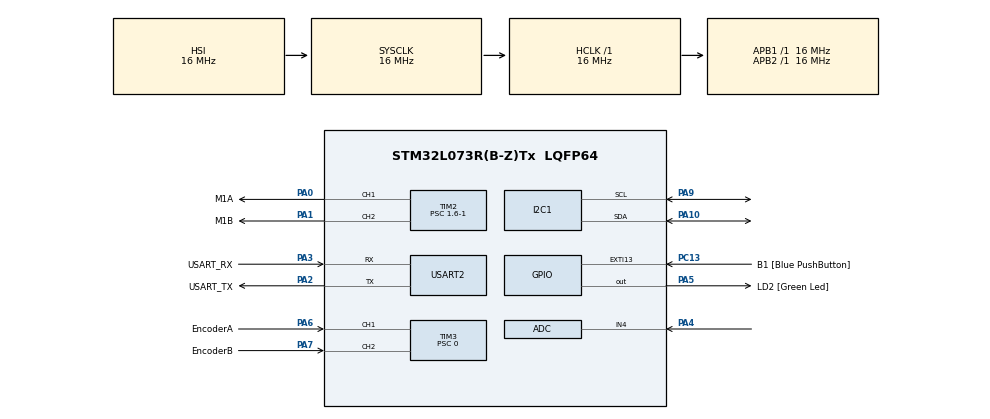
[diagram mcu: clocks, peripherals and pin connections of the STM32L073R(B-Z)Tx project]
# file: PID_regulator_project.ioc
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ADC.ClockPrescaler=ADC_CLOCK_ASYNC_DIV1
ADC.ContinuousConvMode=ENABLE
ADC.DMAContinuousRequests=ENABLE
ADC.EnableAnalogWatchDog=false
ADC.OversamplingMode=ENABLE
ADC.Ratio=ADC_OVERSAMPLING_RATIO_256
ADC.RightBitShift=ADC_RIGHTBITSHIFT_8
ADC.SamplingTime=ADC_SAMPLETIME_160CYCLES_5
Dma.ADC.0.Direction=DMA_PERIPH_TO_MEMORY
Dma.ADC.0.Instance=DMA1_Channel1
Dma.ADC.0.MemDataAlignment=DMA_MDATAALIGN_HALFWORD
Dma.ADC.0.MemInc=DMA_MINC_ENABLE
Dma.ADC.0.Mode=DMA_CIRCULAR
Dma.ADC.0.PeriphDataAlignment=DMA_PDATAALIGN_HALFWORD
Dma.ADC.0.PeriphInc=DMA_PINC_DISABLE
Dma.ADC.0.Priority=DMA_PRIORITY_LOW
Dma.Request0=ADC
I2C1.Timing=0x00503D58
Mcu.Family=STM32L0
Mcu.Name=STM32L073R(B-Z)Tx
Mcu.Package=LQFP64
NVIC.EXTI4_15_IRQn=true\:0\:0\:false\:false\:true\:true\:true\:true
NVIC.TIM21_IRQn=true\:1\:0\:true\:false\:true\:true\:true\:true
PA0.GPIO_Label=M1A
PA0.Signal=S_TIM2_CH1
PA1.GPIO_Label=M1B
PA1.Signal=S_TIM2_CH2
PA10.Mode=I2C
PA10.Signal=I2C1_SDA
PA13.GPIO_Label=TMS
PA13.Mode=Serial_Wire
PA13.Signal=SYS_SWDIO
PA14.GPIO_Label=TCK
PA14.Mode=Serial_Wire
PA14.Signal=SYS_SWCLK
PA2.GPIO_Label=USART_TX
PA2.Mode=Asynchronous
PA2.Signal=USART2_TX
PA3.GPIO_Label=USART_RX
PA3.Mode=Asynchronous
PA3.Signal=USART2_RX
PA4.Mode=IN4
PA4.Signal=ADC_IN4
PA5.GPIO_Label=LD2 [Green Led]
PA5.Signal=GPIO_Output
PA6.GPIO_Label=EncoderA
PA6.Signal=S_TIM3_CH1
PA7.GPIO_Label=EncoderB
PA7.Signal=S_TIM3_CH2
PA9.Mode=I2C
PA9.Signal=I2C1_SCL
PC13.GPIO_Label=B1 [Blue PushButton]
PC13.GPIO_ModeDefaultEXTI=GPIO_MODE_IT_FALLING
PC13.Signal=GPXTI13
PC14-OSC32_IN.Signal=RCC_OSC32_IN
PC15-OSC32_OUT.Signal=RCC_OSC32_OUT
PH0-OSC_IN.GPIO_Label=MCO
PH0-OSC_IN.Signal=RCC_OSC_IN
ProjectManager.HeapSize=0x200
ProjectManager.StackSize=0x400
ProjectManager.TargetToolchain=STM32CubeIDE
RCC.ADCFreq_Value=16000000
RCC.AHBFreq_Value=16000000
RCC.APB1Freq_Value=16000000
RCC.APB1TimFreq_Value=16000000
RCC.APB2Freq_Value=16000000
RCC.APB2TimFreq_Value=16000000
RCC.HCLKFreq_Value=16000000
RCC.HSE_VALUE=8000000
RCC.HSI16_VALUE=16000000
RCC.HSI48_VALUE=48000000
RCC.HSI_VALUE=16000000
RCC.LSEState=RCC_LSE_ON
RCC.LSE_VALUE=32768
RCC.MSIClockRange=RCC_MSIRANGE_6
RCC.MSI_VALUE=4194000
RCC.SYSCLKFreq_VALUE=16000000
RCC.SYSCLKSource=RCC_SYSCLKSOURCE_HSI
RCC.VCOOutputFreq_Value=48000000
SH.S_TIM2_CH1.0=TIM2_CH1,PWM Generation1 CH1
SH.S_TIM2_CH2.0=TIM2_CH2,PWM Generation2 CH2
SH.S_TIM3_CH1.0=TIM3_CH1,Encoder_Interface
SH.S_TIM3_CH2.0=TIM3_CH2,Encoder_Interface
TIM2.Channel-PWM\ Generation1\ CH1=TIM_CHANNEL_1
TIM2.Channel-PWM\ Generation2\ CH2=TIM_CHANNEL_2
TIM2.Period=1000-1
TIM2.Prescaler=1.6-1
TIM21.Period=1000-1
TIM21.Prescaler=1600-1
TIM3.EncoderMode=TIM_ENCODERMODE_TI12
TIM3.IC1Filter=15
TIM3.IC2Filter=15
TIM3.Prescaler=0
USART2.VirtualMode-Asynchronous=VM_ASYNC
VP_TIM21_VS_ClockSourceINT.Mode=Internal
VP_TIM2_VS_ClockSourceINT.Mode=Internal
board=NUCLEO-L073RZ

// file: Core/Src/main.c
/* USER CODE BEGIN Header */
/**
 * @file main.c
 * @brief Plik nagłówkowy do sterowania silnikiem DC z wykorzystaniem algorytmu PID.
 *
 * Plik główny projektu regulacego prędkości obrotowej silnika DC, dostosowaną do zmieniającego
 * się obciążenia. Algorytm PID zapewnia precyzyjną kontrolę prędkości
 * i stabilność pracy silnika w różnych warunkach.
 *
 * Program obsługuje sterowanie silnikiem oraz przetwarzanie danych z ADC przy użyciu DMA.
 * Timer generuje przerwanie co 100 ms, w którym realizowane są operacje sterujące silnikiem oraz
 * ustawiane flagi do dalszej komunikacji (UART oraz LCD).
 * Pętla główna odpowiedzialna jest za kontrolowanie tych flag i warunkowe obsłużenie UART oraz LCD.
 * Nadrzędna flaga pochodząca od przycisku warunkuje wykonywanie całego programu (nie blokuje kontrolera)
 *
 * Kluczowe funkcje:
 * 1. **Timer Interrupt (100 ms)** -  uaktualnienie odczytu z DMA, sterowanie silnikiem oraz
 * 		wystawianie flagi do komunikacji.
 * 2. **ADC w trybie DMA** - pobieranie danych z czujników w sposób bezpośredni, bez angażowania procesora,
 * 		co pozwala na asynchroniczne zbieranie próbek.
 * 3. **Pętla główna** - analizowanie flagi z przerwania, obsługa komunikacji.
 * 4. **EXTI Interrupt** - przerwanie działania programu, wyłączenie silnika
 *
 *  Created on: Dec 1, 2024
 *      Author: Igor
 */
/* USER CODE END Header */
#include "main.h"

/* USER CODE BEGIN Includes */
#include "cytronDriver.h"
#include "motor.h"
#include "string.h"
#include "stdio.h"
#include "./I2C_LCD_Inc/I2C_LCD.h"
/* USER CODE END Includes */

ADC_HandleTypeDef hadc;
DMA_HandleTypeDef hdma_adc;

I2C_HandleTypeDef hi2c1;

TIM_HandleTypeDef htim2;
TIM_HandleTypeDef htim3;
TIM_HandleTypeDef htim21;

UART_HandleTypeDef huart2;

void SystemClock_Config(void);
static void MX_GPIO_Init(void);
static void MX_DMA_Init(void);
static void MX_TIM2_Init(void);
static void MX_TIM3_Init(void);
static void MX_TIM21_Init(void);
static void MX_USART2_UART_Init(void);
static void MX_ADC_Init(void);
static void MX_I2C1_Init(void);

/* USER CODE BEGIN 0 */
motor_struct motor_instance; /**< Instancja silnika DC */

volatile int flag_turn_on_off = 0; /**< Flaga do włączania/wyłączania silnika */
volatile int flag_send_data = 0; /**< Flaga wskazująca na konieczność wysłania danych przez UART */
volatile int flag_refresh_LCD = 0; /**< Flaga do odświeżania wyświetlacza LCD */

char uart_buffer[100]; /**< Bufor do komunikacji UART */
int lcd_refresh_counter = 0; /**< Licznik odświeżania wyświetlacza LCD */

volatile static uint16_t adc_value[1];/**< Tablica przechowująca wartość odczytaną z ADC. */
int new_speed = 0;/**< Obliczona prędkość silnika na podstawie odczytu z ADC. */

volatile uint32_t last_EXTI_interrupt_time; /**< Zmienna do cyfrowego debouncingu przycisku */

/* USER CODE END 0 */

/**
 * @brief  Główna funkcja programu, zawiera inicjalizację peryferiów oraz obsługę wystawionych flag.
 *
 * Funkcja inicjalizuje wszystkie peryferia, w tym ADC, PWM, enkoder, UART i LCD. Następnie
 * w pętli głównej programu monitoruje flagi i warunkowo wysyła dane przez UART oraz aktualizuje stan ekranu LCD
 *
 * @retval int Zwraca 0 w przypadku poprawnego zakończenia.
 */
int main(void) {

	/* MCU Configuration--------------------------------------------------------*/

	/* Reset of all peripherals, Initializes the Flash interface and the Systick. */
	HAL_Init();

	/* Configure the system clock */
	SystemClock_Config();

	/* Initialize all configured peripherals */
	MX_GPIO_Init();
	MX_DMA_Init();
	MX_TIM2_Init();
	MX_TIM3_Init();
	MX_TIM21_Init();
	MX_USART2_UART_Init();
	MX_ADC_Init();
	MX_I2C1_Init();
	/* USER CODE BEGIN 2 */

	/* Inicjalizacja LCD */
	I2C_LCD_Init(I2C_LCD_1);
	I2C_LCD_SetCursor(I2C_LCD_1, 0, 0);
	I2C_LCD_WriteString(I2C_LCD_1, "SYSTEM");
	I2C_LCD_SetCursor(I2C_LCD_1, 0, 1);
	I2C_LCD_WriteString(I2C_LCD_1, "INITIALISATION");
	HAL_Delay(1000);

	/* Inicjalizacja silnika i PID */
	Cytron_Motor_Init(&(motor_instance.driver), &htim2);
	motor_init(&motor_instance, &htim3);
	pid_init(&(motor_instance.pid_controller));

	/* Uruchomienie PWM, enkodera oraz licznika generującego przerwanie */
	HAL_TIM_PWM_Start(&htim2, TIM_CHANNEL_1); /*timer do generacji PWM*/
	HAL_TIM_PWM_Start(&htim2, TIM_CHANNEL_2);
	HAL_TIM_Encoder_Start(&htim3, TIM_CHANNEL_ALL); /*timer do obslugi enkodera*/
	HAL_TIM_Base_Start_IT(&htim21); /*timer do generowania przerwania*/

	/* Uruchomienie i kalibracja ADC */
	HAL_ADCEx_Calibration_Start(&hadc, ADC_SINGLE_ENDED);
	HAL_ADC_Start_DMA(&hadc, (uint32_t*) adc_value, 1);

	/* Ustawienia początkowe na LCD */
	I2C_LCD_Clear(I2C_LCD_1);
	I2C_LCD_SetCursor(I2C_LCD_1, 0, 0);
	I2C_LCD_WriteString(I2C_LCD_1, "SET RPM: 0");
	I2C_LCD_SetCursor(I2C_LCD_1, 0, 1);
	I2C_LCD_WriteString(I2C_LCD_1, "ACT RPM: 0");

	/* USER CODE END 2 */

	/* Infinite loop */
	/* USER CODE BEGIN WHILE */
	while (1) {

		/* Jeżeli silnik jest włączony, przetwórz dane wejściowe i wyświetl informacje */
		if (flag_turn_on_off != 0) {

			/* Jeśli flaga wysyłania danych jest ustawiona, wyślij dane przez UART */
			if (flag_send_data) {
				flag_send_data = 0;
				HAL_UART_Transmit(&huart2, (uint8_t*) uart_buffer,
						strlen(uart_buffer), HAL_MAX_DELAY);
			}

			/* Jeśli flaga odświeżania LCD jest ustawiona, zaktualizuj wyświetlacz */
			if (flag_refresh_LCD) {
				flag_refresh_LCD = 0;
				I2C_LCD_DisplayMotorFormat(I2C_LCD_1, motor_instance.set_speed,
						9, 0);
				I2C_LCD_DisplayMotorFormat(I2C_LCD_1,
						motor_instance.measured_speed, 9, 1);
			}
		}

		/* USER CODE END WHILE */

	}
}

void SystemClock_Config(void) {
	RCC_OscInitTypeDef RCC_OscInitStruct = { 0 };
	RCC_ClkInitTypeDef RCC_ClkInitStruct = { 0 };
	RCC_PeriphCLKInitTypeDef PeriphClkInit = { 0 };

	/** Configure the main internal regulator output voltage
	 */
	__HAL_PWR_VOLTAGESCALING_CONFIG(PWR_REGULATOR_VOLTAGE_SCALE1);

	/** Initializes the RCC Oscillators according to the specified parameters
	 * in the RCC_OscInitTypeDef structure.
	 */
	RCC_OscInitStruct.OscillatorType = RCC_OSCILLATORTYPE_HSI;
	RCC_OscInitStruct.HSIState = RCC_HSI_ON;
	RCC_OscInitStruct.HSICalibrationValue = RCC_HSICALIBRATION_DEFAULT;
	RCC_OscInitStruct.PLL.PLLState = RCC_PLL_NONE;
	if (HAL_RCC_OscConfig(&RCC_OscInitStruct) != HAL_OK) {
		Error_Handler();
	}

	/** Initializes the CPU, AHB and APB buses clocks
	 */
	RCC_ClkInitStruct.ClockType = RCC_CLOCKTYPE_HCLK | RCC_CLOCKTYPE_SYSCLK
			| RCC_CLOCKTYPE_PCLK1 | RCC_CLOCKTYPE_PCLK2;
	RCC_ClkInitStruct.SYSCLKSource = RCC_SYSCLKSOURCE_HSI;
	RCC_ClkInitStruct.AHBCLKDivider = RCC_SYSCLK_DIV1;
	RCC_ClkInitStruct.APB1CLKDivider = RCC_HCLK_DIV1;
	RCC_ClkInitStruct.APB2CLKDivider = RCC_HCLK_DIV1;

	if (HAL_RCC_ClockConfig(&RCC_ClkInitStruct, FLASH_LATENCY_0) != HAL_OK) {
		Error_Handler();
	}
	PeriphClkInit.PeriphClockSelection = RCC_PERIPHCLK_USART2
			| RCC_PERIPHCLK_I2C1;
	PeriphClkInit.Usart2ClockSelection = RCC_USART2CLKSOURCE_PCLK1;
	PeriphClkInit.I2c1ClockSelection = RCC_I2C1CLKSOURCE_PCLK1;
	if (HAL_RCCEx_PeriphCLKConfig(&PeriphClkInit) != HAL_OK) {
		Error_Handler();
	}
}

static void MX_ADC_Init(void) {

	ADC_ChannelConfTypeDef sConfig = { 0 };

	/** Configure the global features of the ADC (Clock, Resolution, Data Alignment and number of conversion)
	 */
	hadc.Instance = ADC1;
	hadc.Init.OversamplingMode = ENABLE;
	hadc.Init.Oversample.Ratio = ADC_OVERSAMPLING_RATIO_256;
	hadc.Init.Oversample.RightBitShift = ADC_RIGHTBITSHIFT_8;
	hadc.Init.Oversample.TriggeredMode = ADC_TRIGGEREDMODE_SINGLE_TRIGGER;
	hadc.Init.ClockPrescaler = ADC_CLOCK_ASYNC_DIV1;
	hadc.Init.Resolution = ADC_RESOLUTION_12B;
	hadc.Init.SamplingTime = ADC_SAMPLETIME_160CYCLES_5;
	hadc.Init.ScanConvMode = ADC_SCAN_DIRECTION_FORWARD;
	hadc.Init.DataAlign = ADC_DATAALIGN_RIGHT;
	hadc.Init.ContinuousConvMode = ENABLE;
	hadc.Init.DiscontinuousConvMode = DISABLE;
	hadc.Init.ExternalTrigConvEdge = ADC_EXTERNALTRIGCONVEDGE_NONE;
	hadc.Init.ExternalTrigConv = ADC_SOFTWARE_START;
	hadc.Init.DMAContinuousRequests = ENABLE;
	hadc.Init.EOCSelection = ADC_EOC_SINGLE_CONV;
	hadc.Init.Overrun = ADC_OVR_DATA_PRESERVED;
	hadc.Init.LowPowerAutoWait = DISABLE;
	hadc.Init.LowPowerFrequencyMode = DISABLE;
	hadc.Init.LowPowerAutoPowerOff = DISABLE;
	if (HAL_ADC_Init(&hadc) != HAL_OK) {
		Error_Handler();
	}

	/** Configure for the selected ADC regular channel to be converted.
	 */
	sConfig.Channel = ADC_CHANNEL_4;
	sConfig.Rank = ADC_RANK_CHANNEL_NUMBER;
	if (HAL_ADC_ConfigChannel(&hadc, &sConfig) != HAL_OK) {
		Error_Handler();
	}

}

static void MX_I2C1_Init(void) {

	hi2c1.Instance = I2C1;
	hi2c1.Init.Timing = 0x00503D58;
	hi2c1.Init.OwnAddress1 = 0;
	hi2c1.Init.AddressingMode = I2C_ADDRESSINGMODE_7BIT;
	hi2c1.Init.DualAddressMode = I2C_DUALADDRESS_DISABLE;
	hi2c1.Init.OwnAddress2 = 0;
	hi2c1.Init.OwnAddress2Masks = I2C_OA2_NOMASK;
	hi2c1.Init.GeneralCallMode = I2C_GENERALCALL_DISABLE;
	hi2c1.Init.NoStretchMode = I2C_NOSTRETCH_DISABLE;
	if (HAL_I2C_Init(&hi2c1) != HAL_OK) {
		Error_Handler();
	}

	/** Configure Analogue filter
	 */
	if (HAL_I2CEx_ConfigAnalogFilter(&hi2c1, I2C_ANALOGFILTER_ENABLE)
			!= HAL_OK) {
		Error_Handler();
	}

	/** Configure Digital filter
	 */
	if (HAL_I2CEx_ConfigDigitalFilter(&hi2c1, 0) != HAL_OK) {
		Error_Handler();
	}

}

static void MX_TIM2_Init(void) {

	TIM_ClockConfigTypeDef sClockSourceConfig = { 0 };
	TIM_MasterConfigTypeDef sMasterConfig = { 0 };
	TIM_OC_InitTypeDef sConfigOC = { 0 };

	htim2.Instance = TIM2;
	htim2.Init.Prescaler = 1.6 - 1;
	htim2.Init.CounterMode = TIM_COUNTERMODE_UP;
	htim2.Init.Period = 1000 - 1;
	htim2.Init.ClockDivision = TIM_CLOCKDIVISION_DIV1;
	htim2.Init.AutoReloadPreload = TIM_AUTORELOAD_PRELOAD_DISABLE;
	if (HAL_TIM_Base_Init(&htim2) != HAL_OK) {
		Error_Handler();
	}
	sClockSourceConfig.ClockSource = TIM_CLOCKSOURCE_INTERNAL;
	if (HAL_TIM_ConfigClockSource(&htim2, &sClockSourceConfig) != HAL_OK) {
		Error_Handler();
	}
	if (HAL_TIM_PWM_Init(&htim2) != HAL_OK) {
		Error_Handler();
	}
	sMasterConfig.MasterOutputTrigger = TIM_TRGO_RESET;
	sMasterConfig.MasterSlaveMode = TIM_MASTERSLAVEMODE_DISABLE;
	if (HAL_TIMEx_MasterConfigSynchronization(&htim2, &sMasterConfig)
			!= HAL_OK) {
		Error_Handler();
	}
	sConfigOC.OCMode = TIM_OCMODE_PWM1;
	sConfigOC.Pulse = 0;
	sConfigOC.OCPolarity = TIM_OCPOLARITY_HIGH;
	sConfigOC.OCFastMode = TIM_OCFAST_DISABLE;
	if (HAL_TIM_PWM_ConfigChannel(&htim2, &sConfigOC, TIM_CHANNEL_1)
			!= HAL_OK) {
		Error_Handler();
	}
	if (HAL_TIM_PWM_ConfigChannel(&htim2, &sConfigOC, TIM_CHANNEL_2)
			!= HAL_OK) {
		Error_Handler();
	}
	HAL_TIM_MspPostInit(&htim2);

}

static void MX_TIM3_Init(void) {

	TIM_Encoder_InitTypeDef sConfig = { 0 };
	TIM_MasterConfigTypeDef sMasterConfig = { 0 };

	htim3.Instance = TIM3;
	htim3.Init.Prescaler = 0;
	htim3.Init.CounterMode = TIM_COUNTERMODE_UP;
	htim3.Init.Period = 65535;
	htim3.Init.ClockDivision = TIM_CLOCKDIVISION_DIV1;
	htim3.Init.AutoReloadPreload = TIM_AUTORELOAD_PRELOAD_DISABLE;
	sConfig.EncoderMode = TIM_ENCODERMODE_TI12;
	sConfig.IC1Polarity = TIM_ICPOLARITY_RISING;
	sConfig.IC1Selection = TIM_ICSELECTION_DIRECTTI;
	sConfig.IC1Prescaler = TIM_ICPSC_DIV1;
	sConfig.IC1Filter = 15;
	sConfig.IC2Polarity = TIM_ICPOLARITY_RISING;
	sConfig.IC2Selection = TIM_ICSELECTION_DIRECTTI;
	sConfig.IC2Prescaler = TIM_ICPSC_DIV1;
	sConfig.IC2Filter = 15;
	if (HAL_TIM_Encoder_Init(&htim3, &sConfig) != HAL_OK) {
		Error_Handler();
	}
	sMasterConfig.MasterOutputTrigger = TIM_TRGO_RESET;
	sMasterConfig.MasterSlaveMode = TIM_MASTERSLAVEMODE_DISABLE;
	if (HAL_TIMEx_MasterConfigSynchronization(&htim3, &sMasterConfig)
			!= HAL_OK) {
		Error_Handler();
	}
	if (HAL_TIMEx_RemapConfig(&htim3, TIM3_TI1_GPIO) != HAL_OK) {
		Error_Handler();
	}

}

static void MX_TIM21_Init(void) {

	TIM_ClockConfigTypeDef sClockSourceConfig = { 0 };
	TIM_MasterConfigTypeDef sMasterConfig = { 0 };

	htim21.Instance = TIM21;
	htim21.Init.Prescaler = 1600 - 1;
	htim21.Init.CounterMode = TIM_COUNTERMODE_UP;
	htim21.Init.Period = 1000 - 1;
	htim21.Init.ClockDivision = TIM_CLOCKDIVISION_DIV1;
	htim21.Init.AutoReloadPreload = TIM_AUTORELOAD_PRELOAD_DISABLE;
	if (HAL_TIM_Base_Init(&htim21) != HAL_OK) {
		Error_Handler();
	}
	sClockSourceConfig.ClockSource = TIM_CLOCKSOURCE_INTERNAL;
	if (HAL_TIM_ConfigClockSource(&htim21, &sClockSourceConfig) != HAL_OK) {
		Error_Handler();
	}
	sMasterConfig.MasterOutputTrigger = TIM_TRGO_RESET;
	sMasterConfig.MasterSlaveMode = TIM_MASTERSLAVEMODE_DISABLE;
	if (HAL_TIMEx_MasterConfigSynchronization(&htim21, &sMasterConfig)
			!= HAL_OK) {
		Error_Handler();
	}

}

static void MX_USART2_UART_Init(void) {

	huart2.Instance = USART2;
	huart2.Init.BaudRate = 115200;
	huart2.Init.WordLength = UART_WORDLENGTH_8B;
	huart2.Init.StopBits = UART_STOPBITS_1;
	huart2.Init.Parity = UART_PARITY_NONE;
	huart2.Init.Mode = UART_MODE_TX_RX;
	huart2.Init.HwFlowCtl = UART_HWCONTROL_NONE;
	huart2.Init.OverSampling = UART_OVERSAMPLING_16;
	huart2.Init.OneBitSampling = UART_ONE_BIT_SAMPLE_DISABLE;
	huart2.AdvancedInit.AdvFeatureInit = UART_ADVFEATURE_NO_INIT;
	if (HAL_UART_Init(&huart2) != HAL_OK) {
		Error_Handler();
	}

}

static void MX_DMA_Init(void) {

	/* DMA controller clock enable */
	__HAL_RCC_DMA1_CLK_ENABLE();

}

static void MX_GPIO_Init(void) {
	GPIO_InitTypeDef GPIO_InitStruct = { 0 };

	/* GPIO Ports Clock Enable */
	__HAL_RCC_GPIOC_CLK_ENABLE();
	__HAL_RCC_GPIOH_CLK_ENABLE();
	__HAL_RCC_GPIOA_CLK_ENABLE();

	/*Configure GPIO pin Output Level */
	HAL_GPIO_WritePin(LD2_GPIO_Port, LD2_Pin, GPIO_PIN_RESET);

	/*Configure GPIO pin : B1_Pin */
	GPIO_InitStruct.Pin = B1_Pin;
	GPIO_InitStruct.Mode = GPIO_MODE_IT_FALLING;
	GPIO_InitStruct.Pull = GPIO_NOPULL;
	HAL_GPIO_Init(B1_GPIO_Port, &GPIO_InitStruct);

	/*Configure GPIO pin : LD2_Pin */
	GPIO_InitStruct.Pin = LD2_Pin;
	GPIO_InitStruct.Mode = GPIO_MODE_OUTPUT_PP;
	GPIO_InitStruct.Pull = GPIO_NOPULL;
	GPIO_InitStruct.Speed = GPIO_SPEED_FREQ_LOW;
	HAL_GPIO_Init(LD2_GPIO_Port, &GPIO_InitStruct);

	/* EXTI interrupt init*/
	HAL_NVIC_SetPriority(EXTI4_15_IRQn, 0, 0);
	HAL_NVIC_EnableIRQ(EXTI4_15_IRQn);

}

/* USER CODE BEGIN 4 */
/**
 * @brief Callback do obsługi przerwania timera.
 *
 * Ta funkcja jest wywoływana, gdy upłynie okres timer'a htim21. Aktualizuje odczyt ADC, oblicza prędkość
 * silnika, przygotowuje dane do wysłania przez UART oraz zarządza flagami wysłania danych i odświeżania wyświetlacza LCD.
 * Przygotowanie danych do wysyłki w tym miejscu gwarantuje, że dane wysłane przez UART i wyświetlone na ekranie
 * pochodzą z tego samego punktu czasowego.
 *
 * @param htim Pointer do struktury TIM_HandleTypeDef zawierającej informacje o timerze.
 */
void HAL_TIM_PeriodElapsedCallback(TIM_HandleTypeDef *htim) {

	if (htim->Instance == htim21.Instance) {
		if (flag_turn_on_off == 1) {

			/* Oblicz nową prędkość na podstawie odczytu z ADC, zakres <-150,150>*/
			new_speed = (adc_value[0] * 300) / 4095 - 150;
			motor_set_RPM_speed(&motor_instance, new_speed);

			/*Wysteruj nową prędkość*/
			motor_calculate_speed(&motor_instance);

			/*Przygotuj dane do wysłania przez UART*/
			snprintf(uart_buffer, sizeof(uart_buffer),
					"Set: %ld, Measured: %ld\r\n", motor_instance.set_speed,
					motor_instance.measured_speed);
			flag_send_data = 1;

			lcd_refresh_counter++;
			if (lcd_refresh_counter >= 5) { /*flaga odswiezania ekranu zglaszana co 5 przerwanie*/
				flag_refresh_LCD = 1;
				lcd_refresh_counter = 0;
			}

		}
	}

}

/**
 * @brief Callback do obsługi przerwania zewnętrznego (przycisk).
 *
 * Funkcja ta jest wywoływana po naciśnięciu przycisku (GPIO_Pin == B1_Pin).
 * Wykonuje debouncing oraz w zależności od stanu flagi włącza lub wyłącza silnik,
 * a także zarządza podświetleniem wyświetlacza LCD.
 *
 * @param GPIO_Pin Numer pinu, który wywołał przerwanie.
 */
void HAL_GPIO_EXTI_Callback(uint16_t GPIO_Pin) {
	/*po wcisnieciu przycisku*/
	if (GPIO_Pin == B1_Pin) {
		uint32_t current_time = HAL_GetTick();
		if (current_time - last_EXTI_interrupt_time > 50) { /*cyfrowy Debouncing 50 ms*/
			/*jesli flaga wlaczenia byla rowna 0 to zmiana na 1*/
			if (flag_turn_on_off == 0) {
				motor_update_count(&motor_instance); /*zeby zresetowac licznik po wznowieniu*/
				flag_turn_on_off = 1;
				I2C_LCD_Backlight(I2C_LCD_1);
				/*jesli flaga wlaczenia byla rowna 1 to zastopuj silnik*/
			} else if (flag_turn_on_off == 1) {
				I2C_LCD_NoBacklight(I2C_LCD_1);
				motor_stop(&motor_instance);
				flag_turn_on_off = 0;
			}
		}
		last_EXTI_interrupt_time = current_time;
	}

}
/* USER CODE END 4 */

void Error_Handler(void) {
	__disable_irq();
	while (1) {
	}
}
